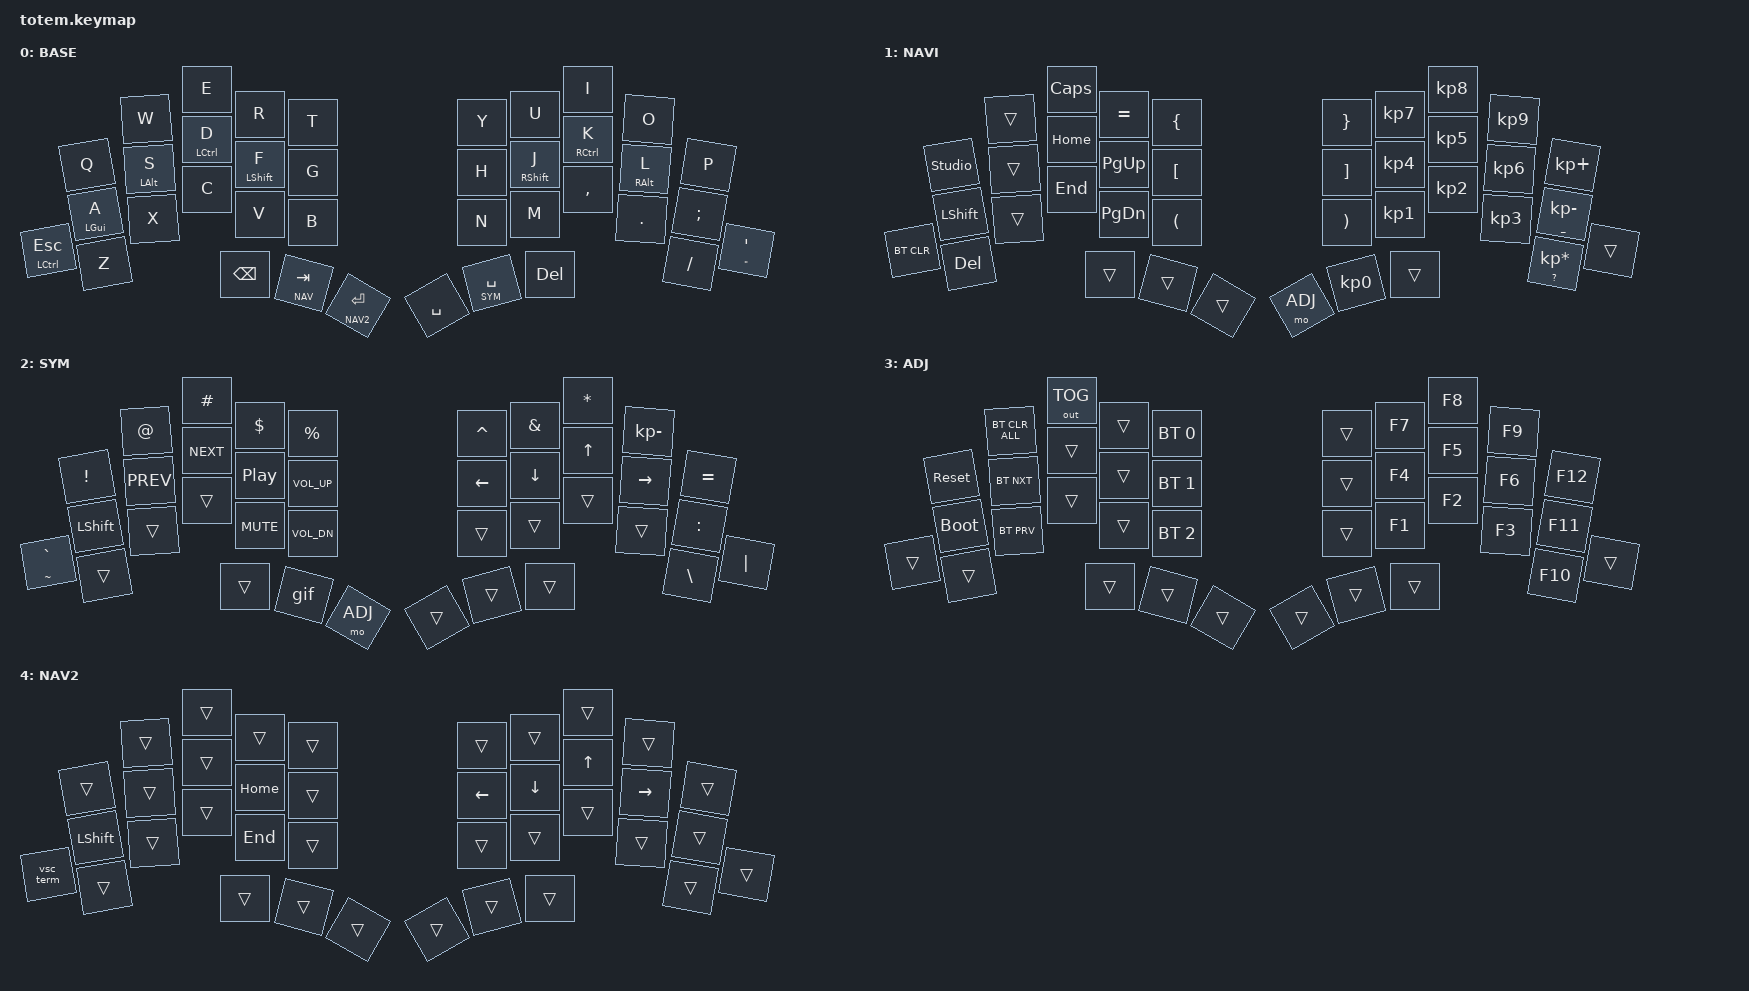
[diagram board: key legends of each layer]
//
//                                                        ▀▀▀▀▀     ▀▀▀▀▀          ▀▀█▀▀
//                                                        ▄▀▀▀▄  ▄  ▄▀▀▀▄  ▄  ▄▀▀▀▄  █  ▄▀▀▀▄
//                                                        █   █  █  █   █  █  █   █  █  █   █
//                                                         ▀▀▀   █   ▀▀▀   █   ▀▀▀   ▀   ▀▀▀
//                                                               █      ▄▄▄█▄▄▄    █   █  
//                                                               ▀      █  █  █     █▄█
//                                                             ▀▀▀▀▀    █  █  █      ▀
//                                                                      ▀  ▀  ▀
//
// ▄▄▄▄▄▄▄▄▄▄▄▄▄▄▄▄▄▄▄▄▄▄▄▄▄▄▄▄▄▄▄▄▄▄▄▄▄▄▄▄▄▄▄▄▄▄▄▄▄▄▄▄▄▄▄▄▄▄▄▄▄▄▄▄▄▄▄▄▄▄▄▄▄▄▄▄▄▄▄▄▄▄▄▄▄▄▄▄▄▄▄▄▄▄▄▄▄▄▄▄▄▄▄▄▄▄▄▄▄▄▄▄▄▄▄▄▄▄▄▄▄▄▄▄▄▄▄▄▄▄▄▄▄▄▄▄▄▄▄▄▄▄▄▄▄▄▄▄▄
       

#include <behaviors.dtsi>
#include <dt-bindings/zmk/keys.h>
#include <dt-bindings/zmk/bt.h>
#include <dt-bindings/zmk/outputs.h>

#define BASE 0
#define NAV  1
#define SYM  2
#define ADJ  3
#define NAV2 4

&mt {
  quick-tap-ms = <100>;
  global-quick-tap;
  flavor = "tap-preferred";
  tapping-term-ms = <300>;
};

/ {
    combos {
            compatible = "zmk,combos";
            combo_esc {
                timeout-ms = <50>;
                key-positions = <0 1>;
                bindings = <&kp ESC>;
            };
    };

    macros {
        gif: gif {
            label = "giphy";
            compatible = "zmk,behavior-macro";
            #binding-cells = <0>;
            bindings
                = <&macro_press &kp LSHFT>
                , <&macro_tap &kp N2>
                , <&macro_release &kp LSHFT>
                , <&macro_tap &kp G &kp I &kp F>
                ;
        };

        vsc_term: vsc_term {
            label = "vscode_terminal";
            compatible = "zmk,behavior-macro";
            #binding-cells = <0>;
            bindings
                = <&macro_press &kp LCTRL>
                , <&macro_tap &kp GRAVE>
                , <&macro_release &kp LCTRL>
                ;
        };
    };

        keymap {
                compatible = "zmk,keymap";
// ▄▄▄▄▄▄▄▄▄▄▄▄▄▄▄▄▄▄▄▄▄▄▄▄▄▄▄▄▄▄▄▄▄▄▄▄▄▄▄▄▄▄▄▄▄▄▄▄▄▄▄▄▄▄▄▄▄▄▄▄▄▄▄▄▄▄▄▄▄▄▄▄▄▄▄▄▄▄▄▄▄▄▄▄▄▄▄▄▄▄▄▄▄▄▄▄▄▄▄▄▄▄▄▄▄▄▄▄▄▄▄▄▄▄▄▄▄▄▄▄▄▄▄▄▄▄▄▄▄▄▄▄▄▄▄▄▄▄▄▄▄▄▄▄▄▄▄▄▄

                base_layer {
// ┏━━━━━━━━━━━━━━━━━━━━━━━━━━━━━━━━━━━━━━━┓
label= "BASE"                              ;
// ┗━━━━━━━━━━━━━━━━━━━━━━━━━━━━━━━━━━━━━━━┛
//             ┏━━━━━━━━━━━┳━━━━━━━━━━━┳━━━━━━━━━━━┳━━━━━━━━━━━┳━━━━━━━━━━━┓   ┏━━━━━━━━━━━┳━━━━━━━━━━━┳━━━━━━━━━━━┳━━━━━━━━━━━┳━━━━━━━━━━━┓
//             ┃     Q     ┃     W     ┃     E     ┃     R     ┃     T     ┃   ┃     Y     ┃     U     ┃     I     ┃     O     ┃     P     ┃
//             ┣━━━━━━━━━━━╋━━━━━━━━━━━╋━━━━━━━━━━━╋━━━━━━━━━━━╋━━━━━━━━━━━┫   ┣━━━━━━━━━━━╋━━━━━━━━━━━╋━━━━━━━━━━━╋━━━━━━━━━━━╋━━━━━━━━━━━┫
//             ┃     A     ┃     S     ┃     D     ┃     F     ┃     G     ┃   ┃     H     ┃     J     ┃     K     ┃     L     ┃     ;     ┃
// ┏━━━━━━━━━━━╋━━━━━━━━━━━╋━━━━━━━━━━━╋━━━━━━━━━━━╋━━━━━━━━━━━╋━━━━━━━━━━━┫   ┣━━━━━━━━━━━╋━━━━━━━━━━━╋━━━━━━━━━━━╋━━━━━━━━━━━╋━━━━━━━━━━━╋━━━━━━━━━━━┓
// ┃    ESC    ┃     Z     ┃     X     ┃     C     ┃     V     ┃     B     ┃   ┃     N     ┃     M     ┃     ,     ┃     .     ┃     /     ┃    ' "    ┃
// ┗━━━━━━━━━━━┻━━━━━━━━━━━┻━━━━━━━━━━━╋━━━━━━━━━━━╋━━━━━━━━━━━╋━━━━━━━━━━━┫   ┣━━━━━━━━━━━╋━━━━━━━━━━━╋━━━━━━━━━━━╋━━━━━━━━━━━┻━━━━━━━━━━━┻━━━━━━━━━━━┛
//                                     ┃    TAB    ┃    TAB    ┃   ENTER   ┃   ┃   BSPC    ┃    SPC    ┃    DEL    ┃
//                                     ┗━━━━━━━━━━━┻━━━━━━━━━━━┻━━━━━━━━━━━┛   ┗━━━━━━━━━━━┻━━━━━━━━━━━┻━━━━━━━━━━━┛
 bindings = <
// ╷           ╷           ╷           ╷           ╷           ╷           ╷   ╷           ╷           ╷           ╷           ╷           ╷           ╷

                &kp Q       &kp W       &kp E       &kp R       &kp T           &kp Y       &kp U       &kp I       &kp O       &kp P
                &mt LGUI A  &mt LALT S  &mt LCTRL D &mt LSHFT F &kp G           &kp H       &mt RSHFT J &mt RCTRL K &mt RALT L  &kp SEMI
 &mt LCTRL ESC  &kp Z       &kp X       &kp C       &kp V       &kp B           &kp N       &kp M       &kp COMMA   &kp DOT     &kp FSLH    &mt DQT SQT
                                        &kp BSPC    &lt NAV TAB &lt NAV2 RET    &kp SPACE   &lt SYM SPACE  &kp DEL
                        >;
                };

// ▄▄▄▄▄▄▄▄▄▄▄▄▄▄▄▄▄▄▄▄▄▄▄▄▄▄▄▄▄▄▄▄▄▄▄▄▄▄▄▄▄▄▄▄▄▄▄▄▄▄▄▄▄▄▄▄▄▄▄▄▄▄▄▄▄▄▄▄▄▄▄▄▄▄▄▄▄▄▄▄▄▄▄▄▄▄▄▄▄▄▄▄▄▄▄▄▄▄▄▄▄▄▄▄▄▄▄▄▄▄▄▄▄▄▄▄▄▄▄▄▄▄▄▄▄▄▄▄▄▄▄▄▄▄▄▄▄▄▄▄▄▄▄▄▄▄▄▄▄


                nav_layer {
// ┏━━━━━━━━━━━━━━━━━━━━━━━━━━━━━━━━━━━━━━━┓
label= "NAVI"                              ;
// ┗━━━━━━━━━━━━━━━━━━━━━━━━━━━━━━━━━━━━━━━┛
//             ┏━━━━━━━━━━━┳━━━━━━━━━━━┳━━━━━━━━━━━┳━━━━━━━━━━━┳━━━━━━━━━━━┓   ┏━━━━━━━━━━━┳━━━━━━━━━━━┳━━━━━━━━━━━┳━━━━━━━━━━━┳━━━━━━━━━━━┓
//             ┃ STDO_UNLK ┃           ┃  C LOCK   ┃     =     ┃     {     ┃   ┃     }     ┃     7     ┃     8     ┃     9     ┃     +     ┃
//             ┣━━━━━━━━━━━╋━━━━━━━━━━━╋━━━━━━━━━━━╋━━━━━━━━━━━╋━━━━━━━━━━━┫   ┣━━━━━━━━━━━╋━━━━━━━━━━━╋━━━━━━━━━━━╋━━━━━━━━━━━╋━━━━━━━━━━━┫
//             ┃   SHIFT   ┃           ┃   HOME    ┃   P UP    ┃     [     ┃   ┃     ]     ┃     4     ┃     5     ┃     6     ┃   - _     ┃
// ┏━━━━━━━━━━━╋━━━━━━━━━━━╋━━━━━━━━━━━╋━━━━━━━━━━━╋━━━━━━━━━━━╋━━━━━━━━━━━┫   ┣━━━━━━━━━━━╋━━━━━━━━━━━╋━━━━━━━━━━━╋━━━━━━━━━━━╋━━━━━━━━━━━╋━━━━━━━━━━━┓
// ┃  BT_CLR   ┃ VSC_TERM  ┃           ┃    END    ┃  P DOWN   ┃     (     ┃   ┃     )     ┃     1     ┃     2     ┃     3     ┃    * ?    ┃           ┃
// ┗━━━━━━━━━━━┻━━━━━━━━━━━┻━━━━━━━━━━━╋━━━━━━━━━━━╋━━━━━━━━━━━╋━━━━━━━━━━━┫   ┣━━━━━━━━━━━╋━━━━━━━━━━━╋━━━━━━━━━━━╋━━━━━━━━━━━┻━━━━━━━━━━━┻━━━━━━━━━━━┛
//                                     ┃           ┃    TAB    ┃    SPC    ┃   ┃           ┃     0     ┃           ┃
//                                     ┗━━━━━━━━━━━┻━━━━━━━━━━━┻━━━━━━━━━━━┛   ┗━━━━━━━━━━━┻━━━━━━━━━━━┻━━━━━━━━━━━┛
 bindings = <
// ╷           ╷           ╷           ╷           ╷           ╷           ╷   ╷           ╷           ╷           ╷           ╷           ╷           ╷

                &studio_unlock &trans   &kp CAPS    &kp EQUAL   &kp LBRC        &kp RBRC    &kp KP_N7   &kp KP_N8   &kp KP_N9   &kp KP_PLUS
                &kp LSHFT   &trans      &kp HOME    &kp PG_UP   &kp LBKT        &kp RBKT    &kp KP_N4   &kp KP_N5   &kp KP_N6   &mt UNDERSCORE KP_MINUS
   &bt BT_CLR   &kp DEL     &trans      &kp END     &kp PG_DN   &kp LPAR        &kp RPAR    &kp KP_N1   &kp KP_N2   &kp KP_N3   &mt QMARK KP_MULTIPLY &trans
                                        &trans      &trans      &trans          &mo ADJ     &kp KP_N0   &trans      
                        >;
                };

// ▄▄▄▄▄▄▄▄▄▄▄▄▄▄▄▄▄▄▄▄▄▄▄▄▄▄▄▄▄▄▄▄▄▄▄▄▄▄▄▄▄▄▄▄▄▄▄▄▄▄▄▄▄▄▄▄▄▄▄▄▄▄▄▄▄▄▄▄▄▄▄▄▄▄▄▄▄▄▄▄▄▄▄▄▄▄▄▄▄▄▄▄▄▄▄▄▄▄▄▄▄▄▄▄▄▄▄▄▄▄▄▄▄▄▄▄▄▄▄▄▄▄▄▄▄▄▄▄▄▄▄▄▄▄▄▄▄▄▄▄▄▄▄▄▄▄▄▄▄


                sim_layer {
// ┏━━━━━━━━━━━━━━━━━━━━━━━━━━━━━━━━━━━━━━━┓
label= "SYM"                               ;
// ┗━━━━━━━━━━━━━━━━━━━━━━━━━━━━━━━━━━━━━━━┛
//             ┏━━━━━━━━━━━┳━━━━━━━━━━━┳━━━━━━━━━━━┳━━━━━━━━━━━┳━━━━━━━━━━━┓   ┏━━━━━━━━━━━┳━━━━━━━━━━━┳━━━━━━━━━━━┳━━━━━━━━━━━┳━━━━━━━━━━━┓
//             ┃     !     ┃     @     ┃     #     ┃     $     ┃     %     ┃   ┃     ˆ     ┃     &     ┃     *     ┃     -     ┃     =     ┃
//             ┣━━━━━━━━━━━╋━━━━━━━━━━━╋━━━━━━━━━━━╋━━━━━━━━━━━╋━━━━━━━━━━━┫   ┣━━━━━━━━━━━╋━━━━━━━━━━━╋━━━━━━━━━━━╋━━━━━━━━━━━╋━━━━━━━━━━━┫
//             ┃   SHIFT   ┃    |<<    ┃    >>|    ┃ PLAY/PAUSE┃   VOL+    ┃   ┃    LEFT   ┃   DOWN    ┃    UP     ┃   RIGHT   ┃     :     ┃
// ┏━━━━━━━━━━━╋━━━━━━━━━━━╋━━━━━━━━━━━╋━━━━━━━━━━━╋━━━━━━━━━━━╋━━━━━━━━━━━┫   ┣━━━━━━━━━━━╋━━━━━━━━━━━╋━━━━━━━━━━━╋━━━━━━━━━━━╋━━━━━━━━━━━╋━━━━━━━━━━━┓
// ┃   `  ~    ┃           ┃           ┃           ┃   MUTE    ┃   VOL-    ┃   ┃           ┃           ┃           ┃           ┃     \     ┃     |     ┃
// ┗━━━━━━━━━━━┻━━━━━━━━━━━┻━━━━━━━━━━━╋━━━━━━━━━━━╋━━━━━━━━━━━╋━━━━━━━━━━━┫   ┣━━━━━━━━━━━╋━━━━━━━━━━━╋━━━━━━━━━━━╋━━━━━━━━━━━┻━━━━━━━━━━━┻━━━━━━━━━━━┛
//                                     ┃           ┃    GIF    ┃    ADJ    ┃   ┃           ┃           ┃           ┃
//                                     ┗━━━━━━━━━━━┻━━━━━━━━━━━┻━━━━━━━━━━━┛   ┗━━━━━━━━━━━┻━━━━━━━━━━━┻━━━━━━━━━━━┛
 bindings = <
// ╷           ╷           ╷           ╷           ╷           ╷           ╷   ╷           ╷           ╷           ╷           ╷           ╷           ╷

                &kp EXCL    &kp AT      &kp HASH    &kp DLLR    &kp PRCNT       &kp CARET   &kp AMPS     &kp ASTRK   &kp KP_MINUS &kp EQUAL
                &kp LSHFT   &kp C_PREV  &kp C_NEXT  &kp C_PP    &kp C_VOL_UP    &kp LEFT    &kp DOWN     &kp UP      &kp RIGHT  &kp COLON
&mt TILDE GRAVE &trans      &trans      &trans      &kp C_MUTE  &kp C_VOL_DN    &trans      &trans       &trans      &trans     &kp BSLH    &kp PIPE
                                        &trans      &gif        &mo ADJ         &trans      &trans       &trans      
                        >;
                };

// ▄▄▄▄▄▄▄▄▄▄▄▄▄▄▄▄▄▄▄▄▄▄▄▄▄▄▄▄▄▄▄▄▄▄▄▄▄▄▄▄▄▄▄▄▄▄▄▄▄▄▄▄▄▄▄▄▄▄▄▄▄▄▄▄▄▄▄▄▄▄▄▄▄▄▄▄▄▄▄▄▄▄▄▄▄▄▄▄▄▄▄▄▄▄▄▄▄▄▄▄▄▄▄▄▄▄▄▄▄▄▄▄▄▄▄▄▄▄▄▄▄▄▄▄▄▄▄▄▄▄▄▄▄▄▄▄▄▄▄▄▄▄▄▄▄▄▄▄▄


                adjust_layer {
// ┏━━━━━━━━━━━━━━━━━━━━━━━━━━━━━━━━━━━━━━━┓
label= "ADJ"                               ;
// ┗━━━━━━━━━━━━━━━━━━━━━━━━━━━━━━━━━━━━━━━┛
//             ┏━━━━━━━━━━━┳━━━━━━━━━━━┳━━━━━━━━━━━┳━━━━━━━━━━━┳━━━━━━━━━━━┓   ┏━━━━━━━━━━━┳━━━━━━━━━━━┳━━━━━━━━━━━┳━━━━━━━━━━━┳━━━━━━━━━━━┓
//             ┃   RESET   ┃ BTCLEAR*  ┃  OUT TOG  ┃           ┃  BT PF0   ┃   ┃           ┃    F7     ┃    F8     ┃    F9     ┃    F12    ┃
//             ┣━━━━━━━━━━━╋━━━━━━━━━━━╋━━━━━━━━━━━╋━━━━━━━━━━━╋━━━━━━━━━━━┫   ┣━━━━━━━━━━━╋━━━━━━━━━━━╋━━━━━━━━━━━╋━━━━━━━━━━━╋━━━━━━━━━━━┫
//             ┃ BOOTLOAD  ┃ BT NEXT   ┃           ┃           ┃  BT PF1   ┃   ┃           ┃    F4     ┃    F5     ┃    F6     ┃    F11    ┃
// ┏━━━━━━━━━━━╋━━━━━━━━━━━╋━━━━━━━━━━━╋━━━━━━━━━━━╋━━━━━━━━━━━╋━━━━━━━━━━━┫   ┣━━━━━━━━━━━╋━━━━━━━━━━━╋━━━━━━━━━━━╋━━━━━━━━━━━╋━━━━━━━━━━━╋━━━━━━━━━━━┓
// ┃           ┃           ┃ BT PREV   ┃           ┃           ┃  BT PF2   ┃   ┃           ┃    F1     ┃    F2     ┃    F3     ┃    F10    ┃           ┃
// ┗━━━━━━━━━━━┻━━━━━━━━━━━┻━━━━━━━━━━━╋━━━━━━━━━━━╋━━━━━━━━━━━╋━━━━━━━━━━━┫   ┣━━━━━━━━━━━╋━━━━━━━━━━━╋━━━━━━━━━━━╋━━━━━━━━━━━┻━━━━━━━━━━━┻━━━━━━━━━━━┛
//                                     ┃           ┃           ┃           ┃   ┃           ┃           ┃           ┃
//                                     ┗━━━━━━━━━━━┻━━━━━━━━━━━┻━━━━━━━━━━━┛   ┗━━━━━━━━━━━┻━━━━━━━━━━━┻━━━━━━━━━━━┛
 bindings = <
// ╷           ╷           ╷           ╷           ╷           ╷           ╷   ╷           ╷           ╷           ╷           ╷           ╷           ╷

                &sys_reset  &bt BT_CLR_ALL  &out OUT_TOG  &trans  &bt BT_SEL 0  &trans      &kp F7      &kp F8      &kp F9      &kp F12
                &bootloader &bt BT_NXT  &trans      &trans      &bt BT_SEL 1    &trans      &kp F4      &kp F5      &kp F6      &kp F11  
    &trans      &trans      &bt BT_PRV  &trans      &trans      &bt BT_SEL 2    &trans      &kp F1      &kp F2      &kp F3      &kp F10     &trans         
                                        &trans      &trans      &trans          &trans      &trans      &trans      
                        >;
                };

// ▄▄▄▄▄▄▄▄▄▄▄▄▄▄▄▄▄▄▄▄▄▄▄▄▄▄▄▄▄▄▄▄▄▄▄▄▄▄▄▄▄▄▄▄▄▄▄▄▄▄▄▄▄▄▄▄▄▄▄▄▄▄▄▄▄▄▄▄▄▄▄▄▄▄▄▄▄▄▄▄▄▄▄▄▄▄▄▄▄▄▄▄▄▄▄▄▄▄▄▄▄▄▄▄▄▄▄▄▄▄▄▄▄▄▄▄▄▄▄▄▄▄▄▄▄▄▄▄▄▄▄▄▄▄▄▄▄▄▄▄▄▄▄▄▄▄▄▄▄


                nav2_layer {
// ┏━━━━━━━━━━━━━━━━━━━━━━━━━━━━━━━━━━━━━━━┓
label= "NAV2"                               ;
// ┗━━━━━━━━━━━━━━━━━━━━━━━━━━━━━━━━━━━━━━━┛
//             ┏━━━━━━━━━━━┳━━━━━━━━━━━┳━━━━━━━━━━━┳━━━━━━━━━━━┳━━━━━━━━━━━┓   ┏━━━━━━━━━━━┳━━━━━━━━━━━┳━━━━━━━━━━━┳━━━━━━━━━━━┳━━━━━━━━━━━┓
//             ┃           ┃           ┃           ┃           ┃           ┃   ┃           ┃           ┃           ┃           ┃           ┃
//             ┣━━━━━━━━━━━╋━━━━━━━━━━━╋━━━━━━━━━━━╋━━━━━━━━━━━╋━━━━━━━━━━━┫   ┣━━━━━━━━━━━╋━━━━━━━━━━━╋━━━━━━━━━━━╋━━━━━━━━━━━╋━━━━━━━━━━━┫
//             ┃   SHIFT   ┃           ┃           ┃   HOME    ┃           ┃   ┃    LEFT   ┃   DOWN    ┃    UP     ┃   RIGHT   ┃           ┃
// ┏━━━━━━━━━━━╋━━━━━━━━━━━╋━━━━━━━━━━━╋━━━━━━━━━━━╋━━━━━━━━━━━╋━━━━━━━━━━━┫   ┣━━━━━━━━━━━╋━━━━━━━━━━━╋━━━━━━━━━━━╋━━━━━━━━━━━╋━━━━━━━━━━━╋━━━━━━━━━━━┓
// ┃           ┃ VSC_TERM  ┃           ┃           ┃    END    ┃           ┃   ┃           ┃           ┃           ┃           ┃           ┃           ┃
// ┗━━━━━━━━━━━┻━━━━━━━━━━━┻━━━━━━━━━━━╋━━━━━━━━━━━╋━━━━━━━━━━━╋━━━━━━━━━━━┫   ┣━━━━━━━━━━━╋━━━━━━━━━━━╋━━━━━━━━━━━╋━━━━━━━━━━━┻━━━━━━━━━━━┻━━━━━━━━━━━┛
//                                     ┃           ┃           ┃           ┃   ┃           ┃           ┃           ┃
//                                     ┗━━━━━━━━━━━┻━━━━━━━━━━━┻━━━━━━━━━━━┛   ┗━━━━━━━━━━━┻━━━━━━━━━━━┻━━━━━━━━━━━┛
 bindings = <
// ╷           ╷           ╷           ╷           ╷           ╷           ╷   ╷           ╷           ╷           ╷           ╷           ╷           ╷

                &trans      &trans      &trans      &trans      &trans          &trans      &trans      &trans      &trans      &trans
                &kp LSHFT   &trans      &trans      &kp HOME    &trans          &kp LEFT    &kp DOWN    &kp UP     &kp RIGHT    &trans  
    &vsc_term   &trans      &trans      &trans      &kp END     &trans          &trans      &trans      &trans      &trans      &trans      &trans         
                                        &trans      &trans      &trans          &trans      &trans      &trans      
                        >;
                };
        };
};

